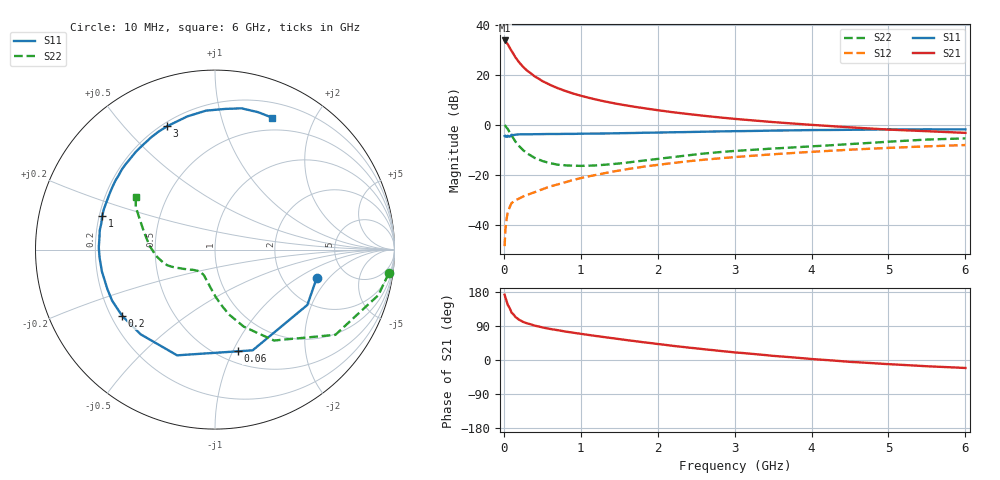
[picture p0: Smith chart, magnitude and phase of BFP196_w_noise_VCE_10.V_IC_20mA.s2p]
! Infineon Technologies  Discrete & RF Semiconductors
! BFP196
! VCE =  10. V,  IC =  20 mA
! Common Emitter S-Parameters:  Jan 2017
# GHz  S  MA  R  50
!  f  S11  S21  S12  S22
! GHz  MAG  ANG  MAG  ANG  MAG  ANG  MAG  ANG
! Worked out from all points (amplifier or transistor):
!   77 points, 10 MHz to 6 GHz, reference 50 ohm
!   highest |S21| = 33.6 dB at 10 MHz (marker M1)
!   |S21| within 3 dB of that: start of sweep to 77.86 MHz
!   unconditionally stable (mu >= 1): 813 MHz to 2.389 GHz
!   at 130 MHz: K = 0.36, MSG = 29.3 dB, |S12| = -30.7 dB
!   at 2.2 GHz: K = 1.01, MAG = 9.4 dB, |S12| = -15.4 dB
!   at 6 GHz: K = 0.91, MSG = 2.4 dB, |S12| = -8.2 dB
!   lowest NFmin = 1.10 dB at 450 MHz
!   S11 on the Smith chart (normalised r, x): 10 MHz: 3.06, -1.49; 60 MHz: 0.61, -1.04; 200 MHz: 0.24, -0.30; 1 GHz: 0.21, +0.14; 3 GHz: 0.22, +0.66; 6 GHz: 0.36, +1.46
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0.01  0.5881 -15.7  48 172.1  0.0037 78.7  0.9766 -7.8
0.02  0.6 -30.9  47.27 164.9  0.0079 81.5  0.9448 -15.6
0.05  0.5991 -69.5  40.59 145.7  0.0175 63.0  0.8218 -35.3
0.06  0.5805 -77.5  38.1 142.6  0.0193 59.4  0.771 -38.6
0.1  0.6258 -109.7  29.71 125.2  0.0268 50.0  0.604 -57.0
0.15  0.628 -131.3  22.13 113.6  0.0306 44.9  0.4584 -69.5
0.2  0.6356 -144.5  17.44 106.1  0.0333 44.9  0.3684 -78.0
0.25  0.6399 -153.6  14.27 100.6  0.0364 44.7  0.3082 -83.8
0.3  0.6387 -159.8  12.05 96.8  0.0391 45.9  0.2664 -88.8
0.4  0.6417 -169.0  9.214 90.7  0.0444 49.5  0.2155 -96.3
0.5  0.6445 -175.8  7.413 86.0  0.0507 52.0  0.1869 -102.4
0.6  0.6477 178.9  6.221 82.0  0.0577 53.4  0.1692 -108.0
0.7  0.647 174.6  5.342 78.7  0.0635 55.8  0.1577 -112.2
1  0.6561 163.4  3.772 69.1  0.0849 58.0  0.1491 -123.6
1.1  0.6588 160.1  3.44 66.2  0.0918 57.9  0.1503 -126.1
1.5  0.6704 148.0  2.546 55.2  0.1204 56.3  0.1666 -137.5
2.1  0.6955 131.4  1.847 39.9  0.1631 51.6  0.2144 -150.6
3  0.737 111.2  1.299 20.1  0.2233 42.0  0.2968 -165.7
3.1  0.7396 109.3  1.261 18.5  0.2294 40.9  0.3032 -167.6
4.1  0.7766 92.1  0.964 1.2  0.2904 29.9  0.3739 174.0
5.1  0.8002 78.0  0.781 -12.0  0.3462 18.3  0.4628 156.5
6  0.8012 66.6  0.682 -21.1  0.3896 8.0  0.5292 146.6
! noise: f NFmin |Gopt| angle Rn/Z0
0.45  1.1  0.34  159  0.05
0.9  1.3  0.47  179  0.06
1.9  2.2  0.68  -137  0.24
2.4  2.65  0.72  -122  0.59
